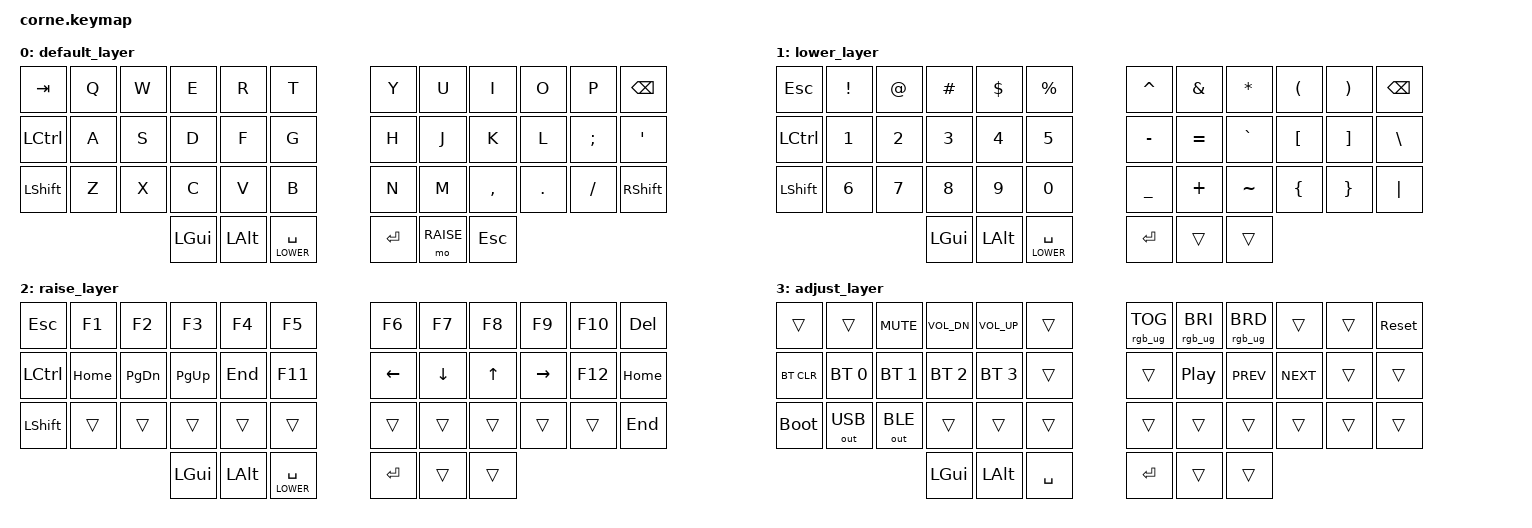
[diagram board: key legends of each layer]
/*
* Copyright (c) 2020 The ZMK Contributors
*
* SPDX-License-Identifier: MIT
*/

#include <behaviors.dtsi>
#include <dt-bindings/zmk/keys.h>
#include <dt-bindings/zmk/bt.h>
#include <dt-bindings/zmk/rgb.h>
#include <dt-bindings/zmk/outputs.h>

// Layer definitions
#define DEFAULT 0
#define LOWER   1
#define RAISE   2
#define ADJUST  3

/ {
  behaviors {
    spc_lower: space_lower {
      compatible = "zmk,behavior-hold-tap";
      label = "SPACE_LOWER";
      #binding-cells = <2>;
      tapping-term-ms = <200>;
      quick-tap-ms = <0>;
      flavor = "tap-preferred";
      bindings = <&mo>, <&kp>;
    };
  };

  conditional_layers {
    compatible = "zmk,conditional-layers";
    tri_layer {
      if-layers = <LOWER RAISE>;
      then-layer = <ADJUST>;
    };
  };

  keymap {
    compatible = "zmk,keymap";

    default_layer {
      // -----------------------------------------------------------------------------------------
      // |  TAB  |  Q  |  W  |  E  |  R  |  T  |   |  Y  |  U   |  I  |  O  |  P  | BSPC |
      // | CTRL  |  A  |  S  |  D  |  F  |  G  |   |  H  |  J   |  K  |  L  |  ;  |  '   |
      // | SHFT |  Z  |  X  |  C  |  V  |  B  |   |  N  |  M   |  ,  |  .  |  /  | SHFT |
      //                    | GUI | ALT | SPACE/LOWER |   | ENT | RAISE | ESC |
      bindings = <
        &kp TAB   &kp Q &kp W &kp E &kp R &kp T   &kp Y &kp U  &kp I     &kp O   &kp P    &kp BSPC
        &kp LCTRL &kp A &kp S &kp D &kp F &kp G   &kp H &kp J  &kp K     &kp L   &kp SEMI &kp SQT
        &kp LSHFT &kp Z &kp X &kp C &kp V &kp B   &kp N &kp M  &kp COMMA &kp DOT &kp FSLH &kp RSHFT
        &kp LGUI &kp LALT &spc_lower LOWER SPACE   &kp RET &mo RAISE &kp ESC
      >;
    };

    lower_layer {
      // -----------------------------------------------------------------------------------------
      // |  ESC |  !  |  @  |  #  |  $  |  %  |   |  ^  |  &  |  *  |  (  |  )  | BSPC |
      // | CTRL |  1  |  2  |  3  |  4  |  5  |   |  -  |  =  |  `  |  [  |  ]  |  \   |
      // | SHFT |  6  |  7  |  8  |  9  |  0  |   |  _  |  +  |  ~  |  {  |  }  |  |   |
      //                    | GUI | ALT | SPACE |   | ENT |     |     |
      bindings = <
        &kp ESC   &kp EXCL  &kp AT    &kp HASH  &kp DLLR  &kp PRCNT    &kp CARET &kp AMPS  &kp ASTRK &kp LPAR  &kp RPAR  &kp BSPC
        &kp LCTRL &kp N1    &kp N2    &kp N3    &kp N4    &kp N5       &kp MINUS &kp EQUAL &kp GRAVE &kp LBKT  &kp RBKT  &kp BSLH
        &kp LSHFT &kp N6    &kp N7    &kp N8    &kp N9    &kp N0       &kp UNDER &kp PLUS  &kp TILDE &kp LBRC  &kp RBRC  &kp PIPE
        &kp LGUI  &kp LALT  &spc_lower LOWER SPACE   &kp RET   &trans    &trans
      >;
    };

    raise_layer {
      // -----------------------------------------------------------------------------------------
      // | ESC  |  F1 |  F2 |  F3 |  F4 |  F5 |   | F6  | F7  | F8  | F9  | F10 | DEL  |
      // | CTRL | HOME| PGDN| PGUP| END | F11 |   | LEFT| DOWN| UP  |RIGHT| F12 | HOME |
      // | SHFT |     |     |     |     |     |   |     |     |     |     |     | END  |
      //                    | GUI | ALT | SPACE |   | ENT |     |     |
      bindings = <
        &kp ESC   &kp F1    &kp F2    &kp F3    &kp F4    &kp F5       &kp F6    &kp F7    &kp F8    &kp F9    &kp F10   &kp DEL
        &kp LCTRL &kp HOME  &kp PG_DN &kp PG_UP &kp END   &kp F11      &kp LEFT  &kp DOWN  &kp UP   &kp RIGHT  &kp F12   &kp HOME
        &kp LSHFT &trans    &trans    &trans    &trans    &trans       &trans    &trans    &trans    &trans    &trans    &kp END
        &kp LGUI  &kp LALT  &spc_lower LOWER SPACE     &kp RET   &trans    &trans
      >;
    };

    adjust_layer {
      // -----------------------------------------------------------------------------------------
      // |      |      | MUTE | VOL-| VOL+|    |   |RGBTG|RGBBR+|RGBBR-|     |     |RESET|
      // | BTCLR| BT1 |  BT2 |  BT3 | BT4 |    |   |     | PLAY | PREV | NEXT|     |     |
      // | BOOT |OTUSB| OTBLE|     |     |     |   |     |      |      |     |     |     |
      //                  | GUI | ALT | SPACE |   | ENT |     |     |
      bindings = <
        &trans    &trans    &kp C_MUTE &kp C_VOL_DN &kp C_VOL_UP &trans    &rgb_ug RGB_TOG &rgb_ug RGB_BRI &rgb_ug RGB_BRD &trans &trans &sys_reset
        &bt BT_CLR &bt BT_SEL 0 &bt BT_SEL 1 &bt BT_SEL 2 &bt BT_SEL 3 &trans    &trans &kp C_PP &kp C_PREV &kp C_NEXT &trans &trans
        &bootloader &out OUT_USB &out OUT_BLE &trans &trans &trans    &trans &trans &trans &trans &trans &trans
        &kp LGUI &kp LALT &kp SPACE      &kp RET &trans &trans
      >;
    };
  };
};
